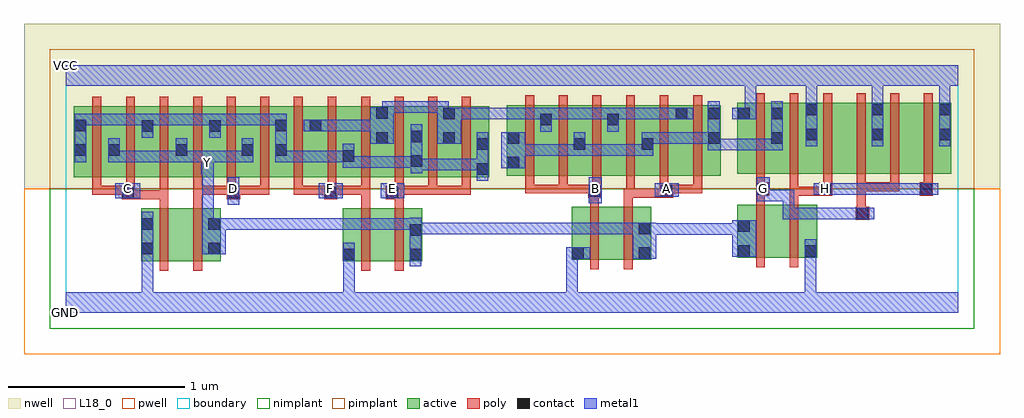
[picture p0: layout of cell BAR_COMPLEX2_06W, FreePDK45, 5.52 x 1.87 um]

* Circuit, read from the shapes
.subckt BAR_COMPLEX2_06W A B C D E F G GND H VCC Y
M1 n1 C GND VSUBS nfet w=0.3u l=0.05u
M2 Y D n1 VSUBS nfet w=0.3u l=0.05u
M3 n2 F GND VSUBS nfet w=0.3u l=0.05u
M4 Y E n2 VSUBS nfet w=0.3u l=0.05u
M5 n3 B GND VSUBS nfet w=0.3u l=0.05u
M6 Y A n3 VSUBS nfet w=0.3u l=0.05u
M7 n4 G Y VSUBS nfet w=0.3u l=0.05u
M8 GND H n4 VSUBS nfet w=0.3u l=0.05u
M9 Y C n5 n6 pfet w=0.4u l=0.05u m=3
M10 n5 D Y n6 pfet w=0.4u l=0.05u m=3
M11 n7 F n5 n6 pfet w=0.4u l=0.05u m=3
M12 n5 E n7 n6 pfet w=0.4u l=0.05u m=3
M13 n7 B n8 n6 pfet w=0.4u l=0.05u m=3
M14 n8 A n7 n6 pfet w=0.4u l=0.05u m=3
M15 n8 G VCC n6 pfet w=0.4u l=0.05u
M16 VCC H n8 n6 pfet w=0.4u l=0.05u
M17 n9 H VCC n6 pfet w=0.4u l=0.05u
M18 VCC G n9 n6 pfet w=0.4u l=0.05u
M19 n10 G VCC n6 pfet w=0.4u l=0.05u
M20 VCC H n10 n6 pfet w=0.4u l=0.05u
.ends

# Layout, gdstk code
import gdstk
lib = gdstk.Library(unit=1e-6, precision=1e-09)
def R(c, l, rs):  # rectangles x0, y0, x1, y1
    for r in rs: c.add(gdstk.rectangle(r[:2], r[2:], *l))
def A(c, l, x, y, w, h, nx, ny, dx, dy):  # array of equal rectangles
    R(c, l, [(x+i*dx, y+j*dy, x+i*dx+w, y+j*dy+h) for i in range(nx) for j in range(ny)])
active = (1, 0)
pwell = (2, 0)
nwell = (3, 0)
nimplant = (4, 0)
pimplant = (5, 0)
poly = (9, 0)
contact = (10, 0)
metal1 = (11, 0)
L18_0 = (18, 0)
boundary = (235, 0)

bar_complex2_06w = lib.new_cell('BAR_COMPLEX2_06W')
A(bar_complex2_06w, active, 0.807, 0.767, 0.26, 0.4, 3, 1, 0.57, 0)
A(bar_complex2_06w, active, 0.992, 0.767, 0.265, 0.4, 3, 1, 0.57, 0)
R(bar_complex2_06w, active, [(0.427,0.292,0.652,0.592), (0.652,0.292,0.877,0.592), (1.567,0.292,1.642,0.592), (1.567,0.292,1.792,0.592), (1.792,0.292,2.017,0.592), (1.942,0.292,2.017,0.592), (2.862,0.3,2.937,0.6), (2.862,0.3,3.087,0.6), (3.087,0.3,3.312,0.6), (3.237,0.3,3.312,0.6), (3.8,0.312,3.875,0.612), (3.8,0.312,4.025,0.612), (4.025,0.312,4.25,0.612), (4.175,0.312,4.25,0.612), (0.427,0.325,0.502,0.592), (0.802,0.325,0.877,0.592), (0.047,0.767,0.312,1.167), (0.047,0.767,0.122,1.155), (0.237,0.767,0.312,1.07), (0.237,0.767,0.5,1.167), (0.425,0.767,0.692,1.167), (0.617,0.767,0.882,1.167), (0.617,0.767,0.692,1.07), (0.992,0.767,1.067,1.07), (1.182,0.767,1.452,1.167), (1.182,0.767,1.257,1.155), (1.562,0.767,1.637,1.07), (1.752,0.767,2.022,1.167), (1.947,0.767,2.022,1.07), (2.322,0.767,2.397,1.07), (2.495,0.775,2.755,1.175), (2.495,0.775,2.57,1.07), (2.68,0.775,2.945,1.175), (2.87,0.775,3.135,1.175), (2.87,0.775,2.945,1.07), (3.06,0.775,3.33,1.175), (3.255,0.775,3.52,1.175), (3.445,0.775,3.705,1.175), (3.63,0.775,3.705,1.165), (3.8,0.787,3.875,1.187), (3.8,0.787,4.06,1.187), (3.985,0.787,4.255,1.187), (4.18,0.787,4.405,1.187), (4.405,0.787,4.63,1.187), (4.555,0.787,4.785,1.187), (4.785,0.787,5.01,1.187), (4.935,0.787,5.01,1.187), (0.425,0.907,0.5,1.155), (0.807,0.907,0.882,1.167), (1.377,0.907,1.452,1.155), (1.752,0.907,1.827,1.167), (2.132,0.907,2.207,1.165), (2.68,0.907,2.755,1.155), (3.06,0.907,3.135,1.155), (3.255,0.907,3.33,1.07), (3.445,0.907,3.52,1.175), (3.985,0.907,4.06,1.165), (4.18,0.907,4.255,1.187), (4.555,0.907,4.63,1.187)])
R(bar_complex2_06w, pwell, [(-0.235,-0.235,5.285,0.7)])
R(bar_complex2_06w, nwell, [(-0.235,0.7,5.285,1.635)])
R(bar_complex2_06w, nimplant, [(-0.09,-0.09,5.14,0.7)])
R(bar_complex2_06w, pimplant, [(-0.09,0.7,5.14,1.49)])
A(bar_complex2_06w, poly, 0.722, 0.667, 0.05, 0.095, 9, 1, 0.19, 0)
A(bar_complex2_06w, poly, 1.862, 0.667, 0.05, 0.05, 3, 1, 0.19, 0)
A(bar_complex2_06w, poly, 2.6, 0.675, 0.05, 0.095, 3, 1, 0.19, 0)
A(bar_complex2_06w, poly, 4.285, 0.687, 0.05, 0.095, 4, 1, 0.19, 0)
A(bar_complex2_06w, poly, 0.152, 0.712, 0.05, 0.51, 12, 1, 0.19, 0)
A(bar_complex2_06w, poly, 2.6, 0.72, 0.05, 0.51, 6, 1, 0.19, 0)
A(bar_complex2_06w, poly, 3.905, 0.732, 0.05, 0.51, 6, 1, 0.19, 0)
R(bar_complex2_06w, poly, [(0.532,0.237,0.582,0.647), (0.722,0.237,0.772,0.647), (1.672,0.237,1.722,0.647), (1.862,0.237,1.912,0.647), (2.967,0.245,3.017,0.655), (3.157,0.245,3.207,0.655), (3.905,0.257,3.955,0.667), (4.095,0.257,4.145,0.667), (4.47,0.525,4.545,0.6), (4.475,0.55,4.525,0.6), (4.475,0.55,4.525,0.6), (4.475,0.55,4.525,0.737), (0.532,0.597,0.582,0.692), (0.722,0.597,0.772,0.717), (1.672,0.597,1.722,0.717), (1.862,0.597,1.912,0.692), (2.967,0.605,3.017,0.7), (3.157,0.605,3.207,0.7), (3.905,0.617,3.955,0.712), (4.095,0.617,4.145,0.712), (0.317,0.642,0.392,0.717), (0.342,0.642,0.582,0.692), (0.532,0.642,0.582,0.692), (0.532,0.642,0.582,0.692), (0.532,0.642,0.582,0.692), (0.532,0.642,0.582,0.762), (0.912,0.642,0.987,0.717), (1.462,0.642,1.537,0.717), (1.812,0.642,1.912,0.717), (2.955,0.65,3.03,0.725), (3.157,0.65,3.22,0.7), (3.17,0.65,3.22,0.7), (3.17,0.65,3.22,0.7), (3.17,0.65,3.41,0.7), (3.17,0.65,3.22,0.77), (3.36,0.65,3.437,0.725), (3.905,0.662,3.98,0.737), (4.095,0.662,4.145,0.712), (4.095,0.662,4.312,0.712), (4.095,0.662,4.145,0.782), (4.262,0.662,4.337,0.737), (4.262,0.662,4.312,0.712), (4.262,0.662,4.312,0.712), (4.83,0.662,4.905,0.737), (0.152,0.667,0.202,0.762), (0.152,0.667,0.202,0.717), (0.152,0.667,0.202,0.717), (0.152,0.667,0.202,0.717), (0.152,0.667,0.367,0.717), (0.342,0.667,0.392,0.762), (0.722,0.667,0.772,0.717), (0.722,0.667,0.772,0.717), (0.722,0.667,0.772,0.717), (0.722,0.667,0.962,0.717), (0.937,0.667,0.987,0.717), (0.937,0.667,0.987,0.717), (0.937,0.667,1.152,0.717), (1.102,0.667,1.152,0.717), (1.292,0.667,1.342,0.717), (1.292,0.667,1.512,0.717), (1.462,0.667,1.512,0.717), (1.462,0.667,1.512,0.717), (1.487,0.667,1.722,0.717), (1.672,0.667,1.722,0.717), (1.672,0.667,1.722,0.717), (1.672,0.667,1.722,0.717), (1.862,0.667,1.912,0.717), (1.862,0.667,2.102,0.717), (2.052,0.667,2.292,0.717), (2.242,0.667,2.292,0.717), (2.242,0.667,2.292,0.717), (2.6,0.675,2.65,0.725), (2.6,0.675,2.84,0.725), (2.79,0.675,2.84,0.725), (2.79,0.675,2.84,0.725), (2.79,0.675,2.84,0.725), (2.79,0.675,3.005,0.725), (2.955,0.675,3.005,0.725), (2.955,0.675,3.005,0.725), (3.36,0.675,3.41,0.77), (3.387,0.675,3.437,0.725), (3.387,0.675,3.437,0.725), (3.387,0.675,3.6,0.725), (3.55,0.675,3.6,0.77), (3.55,0.675,3.6,0.725), (3.905,0.687,3.955,0.782), (4.475,0.687,4.525,0.737), (4.475,0.687,4.715,0.737), (4.665,0.687,4.715,0.737), (4.665,0.687,4.715,0.737), (4.665,0.687,4.715,0.737)])
R(bar_complex2_06w, contact, [(1.572,0.297,1.637,0.362), (1.947,0.297,2.012,0.362), (2.867,0.305,2.932,0.37), (3.242,0.305,3.307,0.37), (3.805,0.317,3.87,0.382), (4.18,0.317,4.245,0.382), (0.432,0.33,0.497,0.395), (0.807,0.33,0.872,0.395), (1.947,0.437,2.012,0.502), (3.242,0.445,3.307,0.51), (3.805,0.457,3.87,0.522), (0.432,0.47,0.497,0.535), (0.807,0.47,0.872,0.535), (4.475,0.53,4.54,0.595), (0.322,0.647,0.387,0.712), (0.917,0.647,0.982,0.712), (1.467,0.647,1.532,0.712), (1.817,0.647,1.882,0.712), (2.96,0.655,3.025,0.72), (3.367,0.655,3.432,0.72), (3.91,0.667,3.975,0.732), (4.267,0.667,4.332,0.732), (4.835,0.667,4.9,0.732), (2.327,0.782,2.392,0.847), (2.5,0.817,2.565,0.882), (1.952,0.825,2.017,0.89), (1.567,0.855,1.632,0.92), (0.052,0.887,0.117,0.952), (0.242,0.887,0.307,0.952), (0.622,0.887,0.687,0.952), (0.997,0.887,1.062,0.952), (1.187,0.887,1.252,0.952), (2.327,0.922,2.392,0.987), (2.875,0.922,2.94,0.987), (3.26,0.922,3.325,0.987), (2.137,0.955,2.202,1.02), (3.635,0.955,3.7,1.02), (3.99,0.955,4.055,1.02), (1.757,0.957,1.822,1.022), (2.5,0.957,2.565,1.022), (1.952,0.965,2.017,1.03), (4.185,0.977,4.25,1.042), (4.56,0.977,4.625,1.042), (4.94,0.977,5.005,1.042), (0.43,1.025,0.495,1.09), (0.812,1.025,0.877,1.09), (0.052,1.027,0.117,1.092), (1.187,1.027,1.252,1.092), (1.382,1.027,1.447,1.092), (2.685,1.06,2.75,1.125), (3.065,1.06,3.13,1.125), (2.137,1.095,2.202,1.16), (3.45,1.095,3.515,1.16), (3.635,1.095,3.7,1.16), (3.805,1.095,3.87,1.16), (3.99,1.095,4.055,1.16), (1.757,1.097,1.822,1.162), (4.185,1.117,4.25,1.182), (4.56,1.117,4.625,1.182), (4.94,1.117,5.005,1.182)])
R(bar_complex2_06w, metal1, [(0,0,5.05,0.115), (0.432,0.05,0.497,0.115), (0.432,0.05,0.497,0.115), (0.432,0.05,0.497,0.115), (0.432,0.05,0.497,0.115), (0.432,0.05,0.497,0.36), (1.572,0.05,1.637,0.327), (2.832,0.05,2.897,0.37), (4.18,0.05,4.245,0.347), (1.572,0.262,1.637,0.327), (1.572,0.262,1.637,0.327), (1.572,0.262,1.637,0.327), (1.572,0.262,1.637,0.327), (1.572,0.262,1.637,0.397), (1.947,0.262,2.012,0.537), (4.18,0.282,4.245,0.347), (4.18,0.282,4.245,0.347), (4.18,0.282,4.245,0.347), (4.18,0.282,4.245,0.347), (4.18,0.282,4.245,0.417), (0.432,0.295,0.497,0.57), (2.832,0.305,2.967,0.37), (2.832,0.305,2.897,0.37), (2.832,0.305,2.897,0.37), (2.832,0.305,2.897,0.37), (2.832,0.305,2.897,0.37), (3.207,0.305,3.342,0.51), (3.77,0.317,3.905,0.522), (0.772,0.33,0.907,0.535), (3.277,0.442,3.342,0.507), (3.277,0.442,3.342,0.507), (3.277,0.442,3.56,0.507), (3.495,0.442,3.56,0.507), (3.495,0.442,3.56,0.507), (3.495,0.442,3.56,0.507), (3.495,0.442,3.835,0.507), (3.77,0.442,3.835,0.507), (3.77,0.442,3.835,0.507), (1.947,0.445,2.255,0.51), (2.19,0.445,2.255,0.51), (2.19,0.445,2.255,0.51), (2.19,0.445,2.255,0.51), (2.19,0.445,2.392,0.51), (2.327,0.445,2.53,0.51), (2.327,0.445,2.392,0.51), (2.327,0.445,2.392,0.51), (2.327,0.445,2.392,0.51), (2.465,0.445,2.53,0.51), (2.465,0.445,2.53,0.51), (2.465,0.445,2.53,0.51), (2.465,0.445,2.76,0.51), (2.695,0.445,2.76,0.51), (2.695,0.445,2.76,0.51), (2.695,0.445,2.76,0.51), (2.695,0.445,2.992,0.51), (2.927,0.445,2.992,0.51), (2.927,0.445,2.992,0.51), (2.927,0.445,2.992,0.51), (2.927,0.445,3.135,0.51), (3.07,0.445,3.135,0.51), (3.07,0.445,3.135,0.51), (3.07,0.445,3.135,0.51), (3.07,0.445,3.272,0.51), (0.772,0.47,0.837,0.847), (0.842,0.47,0.907,0.535), (0.842,0.47,0.907,0.535), (0.842,0.47,1.077,0.535), (1.012,0.47,1.215,0.535), (1.012,0.47,1.077,0.535), (1.012,0.47,1.077,0.535), (1.012,0.47,1.077,0.535), (1.15,0.47,1.215,0.535), (1.15,0.47,1.215,0.535), (1.15,0.47,1.215,0.535), (1.15,0.47,1.39,0.535), (1.325,0.47,1.39,0.535), (1.325,0.47,1.39,0.535), (1.325,0.47,1.39,0.535), (1.325,0.47,1.627,0.535), (1.562,0.47,1.627,0.535), (1.562,0.47,1.627,0.535), (1.562,0.47,1.627,0.535), (1.562,0.47,1.792,0.535), (1.727,0.47,1.792,0.535), (1.727,0.47,2.012,0.535), (1.947,0.47,2.012,0.535), (1.947,0.47,2.012,0.535), (4.055,0.53,4.12,0.595), (4.055,0.53,4.257,0.595), (4.055,0.53,4.12,0.697), (4.192,0.53,4.257,0.595), (4.192,0.53,4.257,0.595), (4.192,0.53,4.257,0.595), (4.192,0.53,4.257,0.595), (4.192,0.53,4.257,0.595), (4.192,0.53,4.505,0.595), (4.44,0.53,4.575,0.595), (0.917,0.612,0.982,0.767), (2.96,0.62,3.032,0.767), (3.91,0.632,3.982,0.767), (3.917,0.632,4.12,0.697), (3.917,0.632,3.982,0.697), (3.917,0.632,3.982,0.697), (4.055,0.632,4.12,0.697), (4.055,0.632,4.12,0.697), (4.055,0.632,4.12,0.697), (0.282,0.647,0.422,0.732), (1.432,0.647,1.567,0.732), (1.782,0.647,1.917,0.732), (3.332,0.655,3.467,0.732), (4.232,0.667,4.367,0.732), (4.302,0.667,4.367,0.732), (4.302,0.667,4.367,0.732), (4.302,0.667,4.59,0.732), (4.525,0.667,4.59,0.732), (4.525,0.667,4.59,0.732), (4.525,0.667,4.59,0.732), (4.525,0.667,4.727,0.732), (4.662,0.667,4.865,0.732), (4.662,0.667,4.727,0.732), (4.662,0.667,4.727,0.732), (4.662,0.667,4.727,0.732), (4.8,0.667,4.935,0.732), (2.327,0.747,2.392,1.022), (0.767,0.782,0.837,0.917), (1.952,0.79,2.017,1.065), (1.952,0.805,2.155,0.87), (2.09,0.805,2.155,0.87), (2.09,0.805,2.155,0.87), (2.09,0.805,2.155,0.87), (2.09,0.805,2.392,0.87), (2.327,0.805,2.392,0.87), (2.327,0.805,2.392,0.87), (2.465,0.817,2.6,1.022), (1.567,0.82,1.632,0.885), (1.567,0.82,1.632,0.885), (1.567,0.82,1.632,0.955), (1.567,0.82,1.875,0.885), (1.81,0.82,1.875,0.885), (1.81,0.82,1.875,0.885), (1.81,0.82,1.875,0.885), (1.81,0.82,2.017,0.885), (0.052,0.852,0.117,1.127), (0.242,0.852,0.307,0.917), (0.242,0.852,0.307,0.917), (0.242,0.852,0.307,0.987), (0.242,0.852,0.547,0.917), (0.482,0.852,0.547,0.917), (0.482,0.852,0.547,0.917), (0.482,0.852,0.547,0.917), (0.482,0.852,0.687,0.917), (0.622,0.852,0.687,0.917), (0.622,0.852,0.687,0.917), (0.622,0.852,0.687,0.987), (0.622,0.852,0.837,0.917), (0.772,0.852,0.837,0.917), (0.772,0.852,0.837,0.917), (0.772,0.852,0.837,0.917), (0.772,0.852,0.837,0.917), (0.772,0.852,1.062,0.917), (0.997,0.852,1.062,0.987), (1.187,0.852,1.252,1.127), (1.187,0.852,1.39,0.917), (1.187,0.852,1.252,0.917), (1.187,0.852,1.252,0.917), (1.187,0.852,1.252,0.917), (1.187,0.852,1.252,0.917), (1.325,0.852,1.39,0.917), (1.325,0.852,1.39,0.917), (1.325,0.852,1.39,0.917), (1.325,0.852,1.632,0.917), (2.535,0.887,2.6,0.952), (2.535,0.887,2.6,0.952), (2.535,0.887,2.76,0.952), (2.695,0.887,2.76,0.952), (2.695,0.887,2.76,0.952), (2.695,0.887,2.76,0.952), (2.695,0.887,2.94,0.952), (2.875,0.887,2.94,0.952), (2.875,0.887,2.94,0.952), (2.875,0.887,2.94,1.022), (2.875,0.887,3.135,0.952), (3.07,0.887,3.135,0.952), (3.07,0.887,3.135,0.952), (3.07,0.887,3.135,0.952), (3.07,0.887,3.325,0.952), (3.26,0.887,3.325,1.022), (3.632,0.92,3.7,1.195), (3.635,0.92,3.845,0.985), (3.78,0.92,3.845,0.985), (3.78,0.92,3.972,0.985), (3.907,0.92,3.972,0.985), (3.907,0.92,4.055,0.985), (3.99,0.92,4.055,1.195), (4.185,0.942,4.25,1.217), (4.56,0.942,4.625,1.217), (4.94,0.942,5.005,1.217), (2.102,0.955,2.237,1.16), (1.722,0.957,1.857,1.162), (3.26,0.957,3.325,1.022), (3.26,0.957,3.325,1.022), (3.26,0.957,3.56,1.022), (3.495,0.957,3.56,1.022), (3.495,0.957,3.697,1.022), (3.632,0.957,3.697,1.022), (3.632,0.957,3.697,1.022), (0.43,0.99,0.495,1.125), (0.812,0.99,0.877,1.125), (2.685,1.025,2.75,1.16), (3.065,1.025,3.13,1.16), (1.347,1.027,1.482,1.092), (1.417,1.027,1.482,1.092), (1.417,1.027,1.482,1.092), (1.417,1.027,1.65,1.092), (1.585,1.027,1.65,1.092), (1.585,1.027,1.65,1.092), (1.585,1.027,1.65,1.092), (1.585,1.027,1.787,1.092), (0.052,1.06,0.117,1.125), (0.052,1.06,0.117,1.125), (0.052,1.06,0.357,1.125), (0.292,1.06,0.495,1.125), (0.292,1.06,0.357,1.125), (0.292,1.06,0.357,1.125), (0.292,1.06,0.357,1.125), (0.43,1.06,0.495,1.125), (0.43,1.06,0.495,1.125), (0.43,1.06,0.695,1.125), (0.63,1.06,0.695,1.125), (0.63,1.06,0.695,1.125), (0.63,1.06,0.695,1.125), (0.63,1.06,0.877,1.125), (0.812,1.06,0.877,1.125), (0.812,1.06,0.877,1.125), (0.812,1.06,1.045,1.125), (0.98,1.06,1.045,1.125), (0.98,1.06,1.045,1.125), (0.98,1.06,1.045,1.125), (0.98,1.06,1.252,1.125), (2.102,1.095,2.167,1.16), (2.102,1.095,2.167,1.195), (2.172,1.095,2.392,1.16), (2.327,1.095,2.53,1.16), (2.327,1.095,2.392,1.16), (2.327,1.095,2.392,1.16), (2.327,1.095,2.392,1.16), (2.465,1.095,2.53,1.16), (2.465,1.095,2.53,1.16), (2.465,1.095,2.53,1.16), (2.465,1.095,2.75,1.16), (2.685,1.095,2.75,1.16), (2.685,1.095,2.75,1.16), (2.685,1.095,2.992,1.16), (2.927,1.095,3.13,1.16), (2.927,1.095,2.992,1.16), (2.927,1.095,2.992,1.16), (2.927,1.095,2.992,1.16), (3.065,1.095,3.13,1.16), (3.065,1.095,3.13,1.16), (3.065,1.095,3.342,1.16), (3.277,1.095,3.48,1.16), (3.277,1.095,3.342,1.16), (3.277,1.095,3.342,1.16), (3.277,1.095,3.342,1.16), (3.415,1.095,3.55,1.16), (3.77,1.095,3.905,1.16), (3.84,1.095,3.905,1.35), (1.792,1.097,1.857,1.162), (1.792,1.097,1.857,1.195), (1.792,1.13,2.012,1.195), (1.947,1.13,2.012,1.195), (1.947,1.13,2.167,1.195), (4.185,1.152,4.25,1.35), (4.56,1.152,4.625,1.35), (4.94,1.152,5.005,1.35), (0,1.285,5.05,1.4)])
R(bar_complex2_06w, L18_0, [(0,0,5.05,0.115), (0.432,0.05,0.497,0.115), (0.432,0.05,0.497,0.115), (0.432,0.05,0.497,0.115), (0.432,0.05,0.497,0.115), (0.432,0.05,0.497,0.36), (1.572,0.05,1.637,0.327), (2.832,0.05,2.897,0.37), (4.18,0.05,4.245,0.347), (1.572,0.262,1.637,0.397), (1.572,0.262,1.637,0.327), (1.572,0.262,1.637,0.327), (1.572,0.262,1.637,0.327), (1.572,0.262,1.637,0.327), (1.947,0.262,2.012,0.537), (4.18,0.282,4.245,0.417), (4.18,0.282,4.245,0.347), (4.18,0.282,4.245,0.347), (4.18,0.282,4.245,0.347), (4.18,0.282,4.245,0.347), (0.432,0.295,0.497,0.57), (2.832,0.305,2.897,0.37), (2.832,0.305,2.897,0.37), (2.832,0.305,2.897,0.37), (2.832,0.305,2.897,0.37), (2.832,0.305,2.967,0.37), (3.207,0.305,3.342,0.51), (3.77,0.317,3.905,0.522), (0.772,0.33,0.907,0.535), (3.277,0.442,3.342,0.507), (3.277,0.442,3.342,0.507), (3.277,0.442,3.56,0.507), (3.495,0.442,3.56,0.507), (3.495,0.442,3.56,0.507), (3.495,0.442,3.56,0.507), (3.495,0.442,3.835,0.507), (3.77,0.442,3.835,0.507), (3.77,0.442,3.835,0.507), (1.947,0.445,2.255,0.51), (2.19,0.445,2.255,0.51), (2.19,0.445,2.255,0.51), (2.19,0.445,2.255,0.51), (2.19,0.445,2.392,0.51), (2.327,0.445,2.392,0.51), (2.327,0.445,2.392,0.51), (2.327,0.445,2.392,0.51), (2.327,0.445,2.53,0.51), (2.465,0.445,2.53,0.51), (2.465,0.445,2.53,0.51), (2.465,0.445,2.53,0.51), (2.465,0.445,2.76,0.51), (2.695,0.445,2.76,0.51), (2.695,0.445,2.76,0.51), (2.695,0.445,2.76,0.51), (2.695,0.445,2.992,0.51), (2.927,0.445,2.992,0.51), (2.927,0.445,2.992,0.51), (2.927,0.445,2.992,0.51), (2.927,0.445,3.135,0.51), (3.07,0.445,3.135,0.51), (3.07,0.445,3.135,0.51), (3.07,0.445,3.135,0.51), (3.07,0.445,3.272,0.51), (0.772,0.47,0.837,0.847), (0.842,0.47,0.907,0.535), (0.842,0.47,0.907,0.535), (0.842,0.47,1.077,0.535), (1.012,0.47,1.077,0.535), (1.012,0.47,1.077,0.535), (1.012,0.47,1.077,0.535), (1.012,0.47,1.215,0.535), (1.15,0.47,1.215,0.535), (1.15,0.47,1.215,0.535), (1.15,0.47,1.215,0.535), (1.15,0.47,1.39,0.535), (1.325,0.47,1.39,0.535), (1.325,0.47,1.39,0.535), (1.325,0.47,1.39,0.535), (1.325,0.47,1.627,0.535), (1.562,0.47,1.627,0.535), (1.562,0.47,1.627,0.535), (1.562,0.47,1.627,0.535), (1.562,0.47,1.792,0.535), (1.727,0.47,1.792,0.535), (1.727,0.47,2.012,0.535), (1.947,0.47,2.012,0.535), (1.947,0.47,2.012,0.535), (4.055,0.53,4.12,0.595), (4.055,0.53,4.257,0.595), (4.055,0.53,4.12,0.697), (4.192,0.53,4.257,0.595), (4.192,0.53,4.257,0.595), (4.192,0.53,4.257,0.595), (4.192,0.53,4.257,0.595), (4.192,0.53,4.257,0.595), (4.192,0.53,4.505,0.595), (4.44,0.53,4.575,0.595), (0.917,0.612,0.982,0.767), (2.96,0.62,3.032,0.767), (3.91,0.632,3.982,0.767), (3.917,0.632,3.982,0.697), (3.917,0.632,3.982,0.697), (3.917,0.632,4.12,0.697), (4.055,0.632,4.12,0.697), (4.055,0.632,4.12,0.697), (4.055,0.632,4.12,0.697), (0.282,0.647,0.422,0.732), (1.432,0.647,1.567,0.732), (1.782,0.647,1.917,0.732), (3.332,0.655,3.467,0.732), (0.317,0.667,0.382,0.732), (0.917,0.667,0.982,0.732), (1.467,0.667,1.532,0.732), (1.817,0.667,1.882,0.732), (2.967,0.667,3.032,0.732), (3.367,0.667,3.432,0.732), (3.917,0.667,3.982,0.732), (4.232,0.667,4.367,0.732), (4.267,0.667,4.332,0.732), (4.302,0.667,4.367,0.732), (4.302,0.667,4.367,0.732), (4.302,0.667,4.59,0.732), (4.525,0.667,4.59,0.732), (4.525,0.667,4.59,0.732), (4.525,0.667,4.59,0.732), (4.525,0.667,4.727,0.732), (4.662,0.667,4.727,0.732), (4.662,0.667,4.727,0.732), (4.662,0.667,4.727,0.732), (4.662,0.667,4.865,0.732), (4.8,0.667,4.935,0.732), (0.767,0.782,0.837,0.917), (0.767,0.817,0.832,0.882), (0.242,0.852,0.307,0.987), (0.242,0.852,0.307,0.917), (0.242,0.852,0.307,0.917), (0.242,0.852,0.547,0.917), (0.482,0.852,0.547,0.917), (0.482,0.852,0.547,0.917), (0.482,0.852,0.547,0.917), (0.482,0.852,0.687,0.917), (0.622,0.852,0.687,0.987), (0.622,0.852,0.687,0.917), (0.622,0.852,0.687,0.917), (0.622,0.852,0.837,0.917), (0.772,0.852,0.837,0.917), (0.772,0.852,0.837,0.917), (0.772,0.852,0.837,0.917), (0.772,0.852,0.837,0.917), (0.772,0.852,1.062,0.917), (0.997,0.852,1.062,0.987), (4.185,0.942,4.25,1.217), (4.56,0.942,4.625,1.217), (4.94,0.942,5.005,1.217), (3.77,1.095,3.905,1.16), (3.84,1.095,3.905,1.35), (4.185,1.152,4.25,1.35), (4.56,1.152,4.625,1.35), (4.94,1.152,5.005,1.35), (0,1.285,5.05,1.4)])
R(bar_complex2_06w, boundary, [(0,0,5.05,1.4)])
bar_complex2_06w.add(gdstk.Label('A', (3.4,0.7), layer=11, texttype=0))
bar_complex2_06w.add(gdstk.Label('B', (3,0.7), layer=11, texttype=0))
bar_complex2_06w.add(gdstk.Label('C', (0.35,0.7), layer=11, texttype=0))
bar_complex2_06w.add(gdstk.Label('D', (0.95,0.7), layer=11, texttype=0))
bar_complex2_06w.add(gdstk.Label('E', (1.85,0.7), layer=11, texttype=0))
bar_complex2_06w.add(gdstk.Label('F', (1.5,0.7), layer=11, texttype=0))
bar_complex2_06w.add(gdstk.Label('G', (3.95,0.7), layer=11, texttype=0))
bar_complex2_06w.add(gdstk.Label('H', (4.3,0.7), layer=11, texttype=0))
bar_complex2_06w.add(gdstk.Label('Y', (0.8,0.85), layer=11, texttype=0))
bar_complex2_06w.add(gdstk.Label('VCC', (0,1.4), layer=11, texttype=0))
bar_complex2_06w.add(gdstk.Label('GND', (0,0), layer=11, texttype=0))

lib.write_gds('BAR_COMPLEX2_06W.gds')
